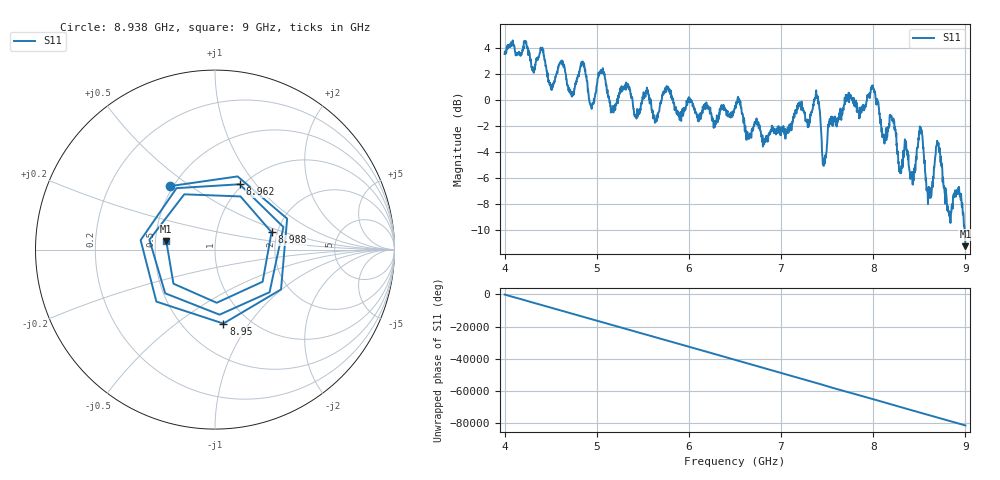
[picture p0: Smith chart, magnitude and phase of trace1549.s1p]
! Created with skrf 1.8.0 (http://scikit-rf.org).
# Hz S RI R 50.0
!freq ReS11 ImS11
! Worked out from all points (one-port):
!   1601 points, 4 GHz to 9 GHz, reference 50 ohm
!   lowest |S11| = -11.2 dB at 9 GHz (marker M1), VSWR 1.76, Z = 28.6 + j2.81 ohm
!   |S11| at or under -10 dB: 8.991475 GHz to end of sweep
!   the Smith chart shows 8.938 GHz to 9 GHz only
!   S11 on the Smith chart (normalised r, x): 8.938 GHz: 0.48, +0.42; 8.95 GHz: 0.77, -0.76; 8.962 GHz: 0.97, +0.83; 8.988 GHz: 1.86, +0.40; 9 GHz: 0.57, +0.06
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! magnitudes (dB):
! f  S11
! 4 GHz  3.5
! 4.625 GHz  2.7
! 4.728 GHz  0.3
! 4.85 GHz  2.8
! 4.941 GHz  -0.4
! 5.053 GHz  2.1
! 5.169 GHz  -0.9
! 5.25 GHz  0.5
! 5.875 GHz  -1.1
! 6.5 GHz  -0.5
! 6.819 GHz  -3.1
! 7.125 GHz  -1.6
! 7.388 GHz  0.4
! 7.469 GHz  -4.5
! 7.75 GHz  0.3
! 7.997 GHz  1.1
! 8.109 GHz  -2.9
! 8.375 GHz  -4.3
! 8.425 GHz  -5.8
! 8.512 GHz  -2.4
! 8.603 GHz  -6.7
! 8.7 GHz  -3.3
! 8.822 GHz  -8.6
! 8.938 GHz  -7.3
! 8.95 GHz  -7.6
! 8.962 GHz  -8.2
! 8.988 GHz  -9.6
! 9 GHz  -11.2
